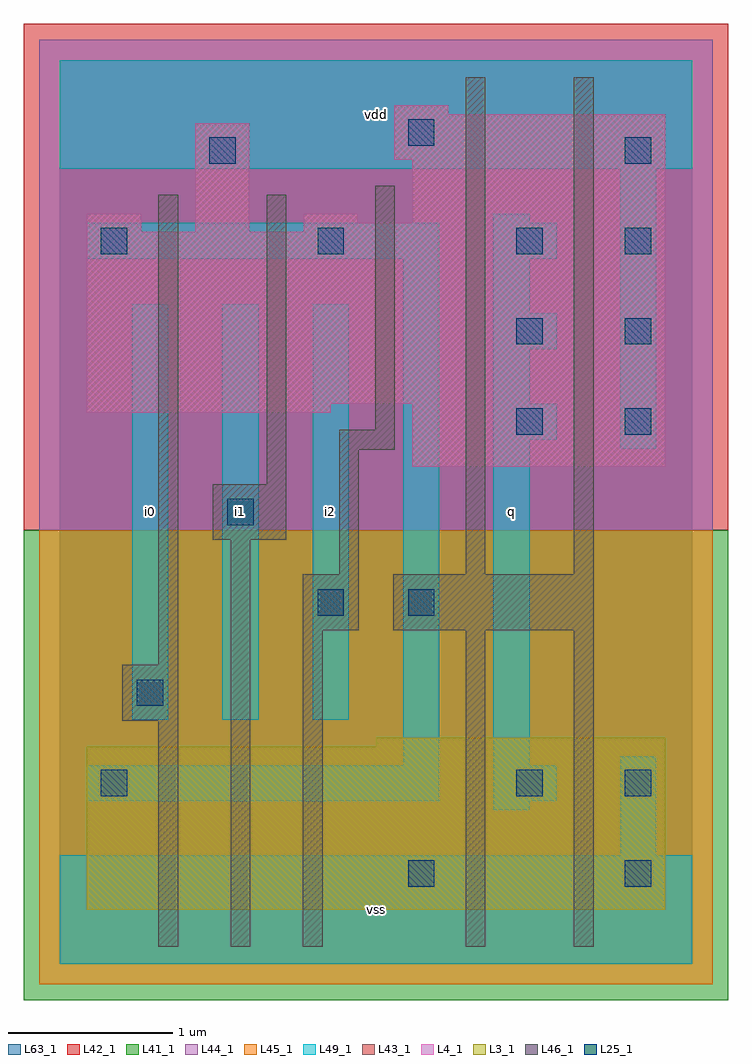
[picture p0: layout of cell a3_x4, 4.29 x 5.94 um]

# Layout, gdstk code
import gdstk
lib = gdstk.Library(unit=1e-6, precision=1e-09)
def R(c, l, rs):  # rectangles x0, y0, x1, y1
    for r in rs: c.add(gdstk.rectangle(r[:2], r[2:], *l))
def A(c, l, x, y, w, h, nx, ny, dx, dy):  # array of equal rectangles
    R(c, l, [(x+i*dx, y+j*dy, x+i*dx+w, y+j*dy+h) for i in range(nx) for j in range(ny)])
L3_1 = (3, 1)
L4_1 = (4, 1)
L25_1 = (25, 1)
L41_1 = (41, 1)
L42_1 = (42, 1)
L43_1 = (43, 1)
L44_1 = (44, 1)
L45_1 = (45, 1)
L46_1 = (46, 1)
L49_1 = (49, 1)
L63_1 = (63, 1)

a3_x4 = lib.new_cell('a3_x4')
R(a3_x4, L3_1, [(0.165,0.33,3.685,1.32), (1.925,1.32,3.685,1.375)])
R(a3_x4, L4_1, [(2.145,3.025,3.685,3.41), (0.165,3.355,1.65,3.41), (0.165,3.41,3.685,4.455), (0.165,4.455,0.495,4.565), (0.825,4.455,1.155,5.115), (1.485,4.455,3.685,4.51), (1.485,4.51,1.815,4.565), (2.145,4.51,3.685,4.895), (2.035,4.895,3.685,5.17), (2.035,5.17,2.365,5.225)])
A(a3_x4, L25_1, 2.78, 3.22, 0.16, 0.16, 1, 3, 0, 0.55)
A(a3_x4, L25_1, 3.44, 3.22, 0.16, 0.16, 1, 4, 0, 0.55)
R(a3_x4, L25_1, [(2.12,0.47,2.28,0.63), (3.44,0.47,3.6,0.63), (0.25,1.02,0.41,1.18), (2.78,1.02,2.94,1.18), (3.44,1.02,3.6,1.18), (0.47,1.57,0.63,1.73), (1.57,2.12,1.73,2.28), (2.12,2.12,2.28,2.28), (1.02,2.67,1.18,2.83), (0.25,4.32,0.41,4.48), (1.57,4.32,1.73,4.48), (0.91,4.87,1.07,5.03), (2.12,4.98,2.28,5.14)])
R(a3_x4, L41_1, [(-0.22,-0.22,4.07,2.64)])
R(a3_x4, L42_1, [(-0.22,2.64,4.07,5.72)])
R(a3_x4, L43_1, [(0.165,0.33,3.685,1.32), (1.925,1.32,3.685,1.375), (2.145,3.025,3.685,3.41), (0.165,3.355,1.65,3.41), (0.165,3.41,3.685,4.455), (0.165,4.455,0.495,4.565), (0.825,4.455,1.155,5.115), (1.485,4.455,3.685,4.51), (1.485,4.51,1.815,4.565), (2.145,4.51,3.685,4.895), (2.035,4.895,3.685,5.17), (2.035,5.17,2.365,5.225)])
R(a3_x4, L44_1, [(-0.125,2.64,3.975,5.625)])
R(a3_x4, L45_1, [(-0.125,-0.125,3.975,2.64)])
R(a3_x4, L46_1, [(0.6,0.105,0.72,1.48), (1.04,0.105,1.16,2.58), (1.48,0.105,1.6,2.03), (2.47,0.105,2.59,2.03), (3.13,0.105,3.25,2.03), (0.38,1.48,0.72,1.82), (0.6,1.82,0.72,4.68), (1.48,2.03,1.82,2.37), (2.03,2.03,3.25,2.37), (1.7,2.37,1.82,3.13), (2.47,2.37,2.59,5.395), (3.13,2.37,3.25,5.395), (0.93,2.58,1.38,2.92), (1.26,2.92,1.38,4.68), (1.7,3.13,2.04,3.25), (1.92,3.25,2.04,4.735)])
A(a3_x4, L49_1, 0.44, 1.485, 0.22, 2.53, 3, 1, 0.55, 0)
A(a3_x4, L49_1, 2.64, 3.19, 0.385, 0.22, 1, 3, 0, 0.55)
R(a3_x4, L49_1, [(0,0,3.85,0.66), (3.41,0.66,3.63,1.265), (2.64,0.935,2.86,0.99), (0.165,0.99,2.31,1.21), (2.64,0.99,3.025,1.21), (2.09,1.21,2.31,4.29), (2.64,1.21,2.86,3.19), (3.41,3.135,3.63,4.84), (2.64,3.41,2.86,3.74), (2.64,3.96,2.86,4.29), (0.165,4.29,2.31,4.51), (2.64,4.51,2.86,4.565), (0,4.84,3.85,5.5)])
R(a3_x4, L63_1, [(0,0,3.85,5.5)])
a3_x4.add(gdstk.Label('i0', (0.55,2.75), layer=49, texttype=1))
a3_x4.add(gdstk.Label('i2', (1.65,2.75), layer=49, texttype=1))
a3_x4.add(gdstk.Label('i1', (1.1,2.75), layer=49, texttype=1))
a3_x4.add(gdstk.Label('vss', (1.925,0.33), layer=49, texttype=1))
a3_x4.add(gdstk.Label('q', (2.75,2.75), layer=49, texttype=1))
a3_x4.add(gdstk.Label('vdd', (1.925,5.17), layer=49, texttype=1))

lib.write_gds('a3_x4.gds')
